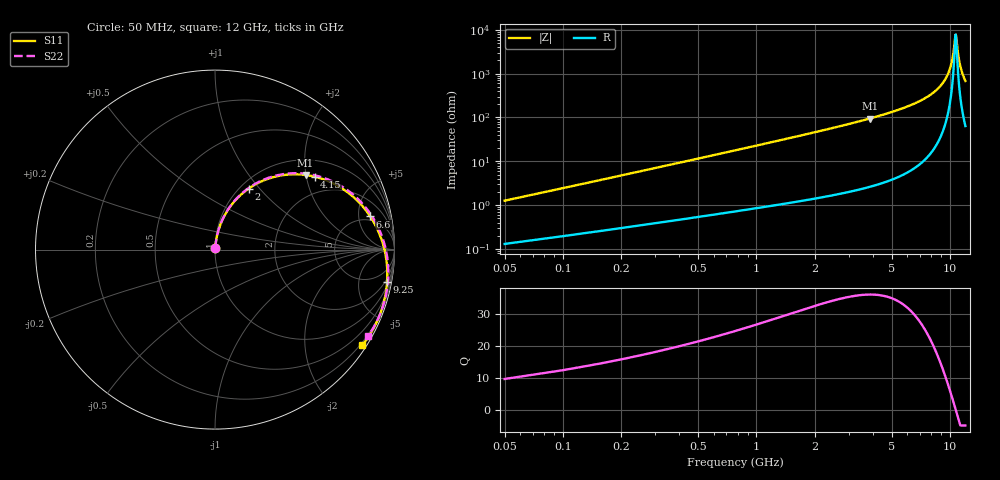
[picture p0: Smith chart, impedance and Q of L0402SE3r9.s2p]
!	AVX Thin Film Operation
!	Date:		5 January 2004
!	Description: 	Accu-L®  L0402 Series Thin Film RF Inductors
!	Part Number:	L04023R9BHNTR
!	50 MHz-20GHz Serial Measurements
#	mhz	S	db	R	50
!	S11	S11	S21	S21	S12	S12	S22	S22
!	dB	Phase	dB	Phase	dB	Phase	dB	Phase
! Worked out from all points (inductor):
!   240 points, 50 MHz to 12 GHz, reference 50 ohm
!   read as one part in series: L = 3.81 nH near 100 MHz
!   highest Q = 36.2 at 3.85 GHz (marker M1), where L = 3.92 nH
!   self-resonance near 10.65 GHz
!   S11 on the Smith chart (normalised r, x): 50 MHz: 1.00, +0.02; 2 GHz: 1.09, +0.87; 4.15 GHz: 1.45, +2.24; 6.6 GHz: 4.15, +7.05; 9.25 GHz: 1, -10; 12 GHz: 0.13, -3.37
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50  -38.58 82.9  -0.01 -0.8  -0.01 -0.8  -38.58 82.9
100  -32.90 83.5  -0.02 -1.5  -0.02 -1.5  -32.90 83.6
200  -27.15 83.2  -0.03 -2.9  -0.03 -2.9  -27.15 83.2
350  -22.49 81.7  -0.06 -5.0  -0.06 -5.0  -22.49 81.8
550  -18.71 79.4  -0.11 -7.7  -0.11 -7.7  -18.71 79.5
1150  -12.62 71.9  -0.33 -15.8  -0.33 -15.8  -12.62 72.1
2000  -8.23 61.2  -0.83 -26.7  -0.83 -26.7  -8.23 61.6
2050  -8.04 60.5  -0.86 -27.3  -0.86 -27.3  -8.04 61.0
3850  -3.69 39.5  -2.64 -48.4  -2.64 -48.4  -3.69 40.4
4050  -3.39 37.3  -2.89 -50.5  -2.89 -50.5  -3.39 38.2
4150  -3.25 36.2  -3.02 -51.6  -3.02 -51.6  -3.25 37.2
6050  -1.40 17.2  -6.07 -70.2  -6.07 -70.2  -1.40 18.6
6600  -1.07 12.1  -7.21 -75.1  -7.21 -75.1  -1.07 13.7
8050  -0.47 -0.7  -11.11 -86.9  -11.11 -86.9  -0.47 1.3
9250  -0.21 -10.7  -16.43 -94.7  -16.43 -94.7  -0.21 -8.4
10050  -0.13 -17.3  -23.38 -95.5  -23.38 -95.5  -0.13 -14.6
10350  -0.11 -19.7  -28.50 -89.3  -28.50 -89.3  -0.11 -17.0
10700  -0.11 -22.5  -38.29 -18.4  -38.29 -18.4  -0.11 -19.7
11000  -0.11 -25.0  -29.46 45.4  -29.46 45.4  -0.11 -22.0
11200  -0.12 -26.6  -25.47 51.8  -25.47 51.8  -0.12 -23.5
11550  -0.14 -29.4  -21.06 54.3  -21.06 54.3  -0.14 -26.2
12000  -0.19 -33.0  -17.46 53.5  -17.46 53.5  -0.18 -29.6
